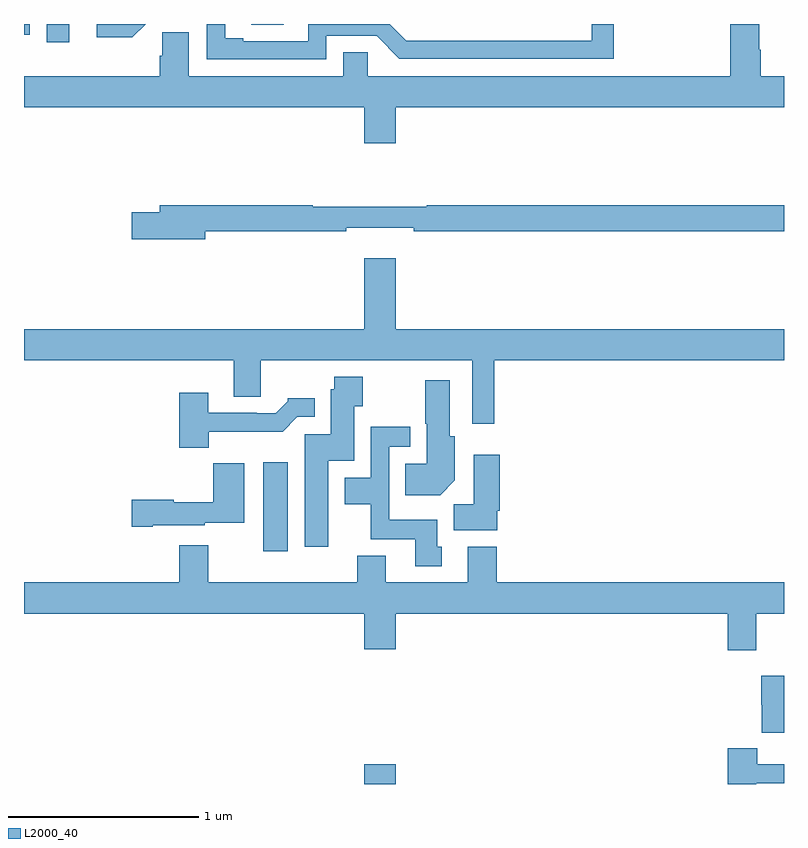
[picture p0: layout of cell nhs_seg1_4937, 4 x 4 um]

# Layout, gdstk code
import gdstk
lib = gdstk.Library(unit=1e-6, precision=1e-09)
def R(c, l, rs):  # rectangles x0, y0, x1, y1
    for r in rs: c.add(gdstk.rectangle(r[:2], r[2:], *l))
def P(c, l, *ps):  # polygons
    for p in ps: c.add(gdstk.Polygon(p, *l))
L2000_40 = (2000, 40)

nhs_seg1_4937 = lib.new_cell('nhs_seg1_4937')
R(nhs_seg1_4937, L2000_40, [(380.792,520.199,380.956,520.303), (380.258,521.424,380.389,521.893), (379.119,524.103,379.237,524.199), (379,524.142,379.029,524.199), (380.196,524.194,380.366,524.199)])
P(nhs_seg1_4937, L2000_40, [(380.592,524.136),(380.856,524.136),(380.976,524.016),(382.103,524.016),(382.103,524.199),(381.987,524.199),(381.987,524.112),(381.012,524.112),(380.925,524.199),(380.496,524.199),(380.496,524.109),(380.155,524.109),(380.155,524.124),(380.059,524.124),(380.059,524.199),(379.962,524.199),(379.962,524.013),(380.592,524.013)],
  [(380.956,523.76),(383,523.76),(383,523.924),(382.878,523.924),(382.878,524.063),(382.87,524.063),(382.87,524.199),(382.718,524.199),(382.718,523.924),(380.808,523.924),(380.808,524.051),(380.681,524.051),(380.681,523.924),(379.867,523.924),(379.867,524.156),(379.728,524.156),(379.728,524.033),(379.715,524.033),(379.715,523.924),(379,523.924),(379,523.76),(380.792,523.76),(380.792,523.572),(380.956,523.572)],
  [(379.641,524.199),(379.383,524.199),(379.383,524.129),(379.57,524.129)],
  [(379.954,523.108),(380.696,523.108),(380.696,523.127),(381.052,523.127),(381.052,523.108),(383,523.108),(383,523.244),(381.119,523.244),(381.119,523.237),(380.519,523.237),(380.519,523.244),(379.715,523.244),(379.715,523.208),(379.566,523.208),(379.566,523.066),(379.954,523.066)],
  [(381.476,522.428),(383,522.428),(383,522.592),(380.956,522.592),(380.956,522.967),(380.792,522.967),(380.792,522.592),(379,522.592),(379,522.428),(380.105,522.428),(380.105,522.238),(380.245,522.238),(380.245,522.428),(381.36,522.428),(381.36,522.096),(381.476,522.096)],
  [(380.602,521.9),(380.737,521.9),(380.737,522.187),(380.784,522.187),(380.784,522.343),(380.632,522.343),(380.632,522.276),(380.615,522.276),(380.615,522.039),(380.477,522.039),(380.477,521.448),(380.602,521.448)],
  [(381.268,521.798),(381.268,522.03),(381.241,522.03),(381.241,522.325),(381.113,522.325),(381.113,522.096),(381.119,522.096),(381.119,521.884),(381.007,521.884),(381.007,521.72),(381.19,521.72)],
  [(379.972,522.054),(380.361,522.054),(380.439,522.132),(380.53,522.132),(380.53,522.229),(380.388,522.229),(380.388,522.214),(380.324,522.15),(380.225,522.15),(380.225,522.153),(379.969,522.153),(379.969,522.259),(379.817,522.259),(379.817,521.969),(379.972,521.969)],
  [(381.199,521.448),(381.175,521.448),(381.175,521.59),(380.922,521.59),(380.922,521.973),(381.034,521.973),(381.034,522.079),(380.826,522.079),(380.826,521.812),(380.687,521.812),(380.687,521.672),(380.824,521.672),(380.824,521.486),(381.059,521.486),(381.059,521.346),(381.199,521.346)],
  [(381.49,521.638),(381.503,521.638),(381.503,521.932),(381.368,521.932),(381.368,521.672),(381.263,521.672),(381.263,521.534),(381.49,521.534)],
  [(379.678,521.561),(379.95,521.561),(379.95,521.573),(380.158,521.573),(380.158,521.887),(379.996,521.887),(379.996,521.683),(379.788,521.683),(379.788,521.696),(379.566,521.696),(379.566,521.554),(379.678,521.554)],
  [(382.855,521.096),(383,521.096),(383,521.26),(381.488,521.26),(381.488,521.449),(381.335,521.449),(381.335,521.26),(380.905,521.26),(380.905,521.401),(380.753,521.401),(380.753,521.26),(379.969,521.26),(379.969,521.455),(379.817,521.455),(379.817,521.26),(379,521.26),(379,521.096),(380.792,521.096),(380.792,520.908),(380.956,520.908),(380.956,521.096),(382.703,521.096),(382.703,520.902),(382.855,520.902)],
  [(383,520.77),(382.88,520.77),(382.88,520.617),(382.882,520.617),(382.882,520.469),(383,520.469)],
  [(382.855,520.203),(383,520.203),(383,520.303),(382.858,520.303),(382.858,520.387),(382.703,520.387),(382.703,520.199),(382.855,520.199)])

lib.write_gds('nhs_seg1_4937.gds')
